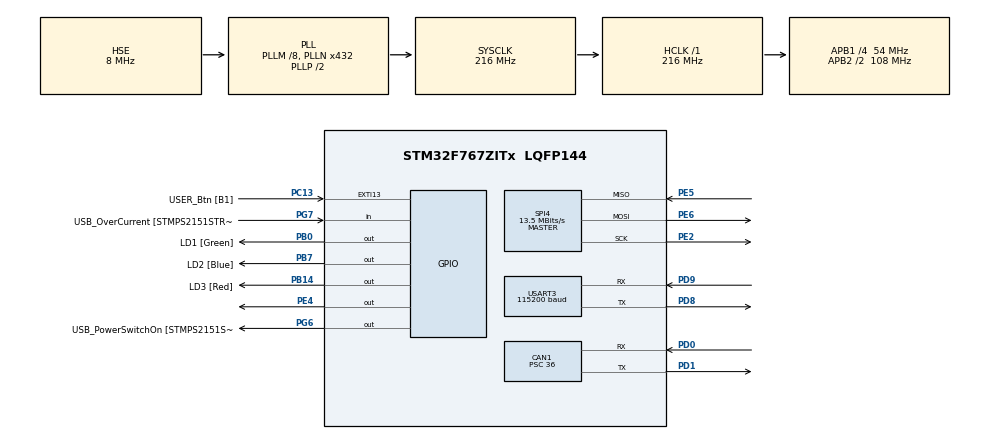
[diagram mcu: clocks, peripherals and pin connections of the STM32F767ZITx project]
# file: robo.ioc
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Mcu.Family=STM32F7
CAN1.NART=ENABLE
RCC.CortexFreq_Value=216000000
SPI4.VirtualType=VM_MASTER
PG6.Signal=GPIO_Output
PB14.GPIO_Label=LD3 [Red]
PG6.GPIO_Label=USB_PowerSwitchOn [STMPS2151STR_EN]
PA14.GPIO_Label=TCK
RCC.SYSCLKSourceVirtual=RCC_SYSCLKSOURCE_PLLCLK
SPI4.Direction=SPI_DIRECTION_2LINES
PD9.GPIO_Speed=GPIO_SPEED_FREQ_VERY_HIGH
PB0.GPIO_Label=LD1 [Green]
PC14/OSC32_IN.Mode=LSE-External-Oscillator
PC13.GPIO_Label=USER_Btn [B1]
PB13.GPIO_Label=RMII_TXD1 [LAN8742A-CZ-TR_TXD1]
PD8.GPIO_PuPd=GPIO_NOPULL
PB13.Signal=ETH_TXD1
PG13.Signal=ETH_TXD0
PD9.Mode=Asynchronous
PG11.Signal=ETH_TX_EN
RCC.SYSCLKSource=RCC_SYSCLKSOURCE_PLLCLK
ProjectManager.StackSize=0x400
USART3.VirtualMode-Asynchronous=VM_ASYNC
PD8.GPIO_ModeDefaultPP=GPIO_MODE_AF_PP
PA12.Signal=USB_OTG_FS_DP
USART3.BaudRate=115200
SPI4.Mode=SPI_MODE_MASTER
PH0/OSC_IN.Mode=HSE-External-Oscillator
RCC.HCLKFreq_Value=216000000
PE2.Mode=Full_Duplex_Master
RCC.APB2TimFreq_Value=216000000
PH1/OSC_OUT.Signal=RCC_OSC_OUT
PD0.Signal=CAN1_RX
PD8.Signal=USART3_TX
PE5.Signal=SPI4_MISO
RCC.AHBFreq_Value=216000000
RCC.HSE_VALUE=8000000
RCC.PLLMUL=RCC_PLL_MUL9
PC4.GPIO_Label=RMII_RXD0 [LAN8742A-CZ-TR_RXD0]
PA10.GPIO_Label=USB_ID
PE2.Signal=SPI4_SCK
PB7.Signal=GPIO_Output
PA8.Signal=USB_OTG_FS_SOF
PE4.Signal=GPIO_Output
PH1/OSC_OUT.Mode=HSE-External-Oscillator
SPI4.BaudRatePrescaler=SPI_BAUDRATEPRESCALER_8
PB7.GPIO_Label=LD2 [Blue]
CAN1.Prescaler=36
Mcu.Package=LQFP144
PC14/OSC32_IN.Signal=RCC_OSC32_IN
PA2.GPIO_Label=RMII_MDIO [LAN8742A-CZ-TR_MDIO]
PA10.Signal=USB_OTG_FS_ID
USART3.DMADisableonRxErrorParam=ADVFEATURE_DMA_DISABLEONRXERROR
RCC.APB2CLKDivider=RCC_HCLK_DIV2
RCC.APB1TimFreq_Value=108000000
USART3.OverrunDisableParam=ADVFEATURE_OVERRUN_DISABLE
PG11.GPIO_Label=RMII_TX_EN [LAN8742A-CZ-TR_TXEN]
PC5.Signal=ETH_RXD1
PD9.GPIO_PuPd=GPIO_NOPULL
CAN1.CalculateTimeBit=1999.99
CAN1.CalculateTimeQuantum=666.6666666666667
PB3.GPIO_Label=SW0
RCC.PLLSourceVirtual=RCC_PLLSOURCE_HSE
PG7.Signal=GPIO_Input
SPI4.DataSize=SPI_DATASIZE_8BIT
PC13.Signal=GPXTI13
PA9.GPIO_Label=USB_VBUS
CAN1.CalculateBaudRate=500000
PC4.Signal=ETH_RXD0
PD1.Signal=CAN1_TX
PA11.GPIO_Label=USB_DM
PD9.Signal=USART3_RX
RCC.APB1CLKDivider=RCC_HCLK_DIV4
PD9.GPIO_ModeDefaultPP=GPIO_MODE_AF_PP
PG13.GPIO_Label=RMII_TXD0 [LAN8742A-CZ-TR_TXD0]
PA12.GPIO_Label=USB_DP
USART3.OverSampling=UART_OVERSAMPLING_16
PA13.Signal=SYS_JTMS-SWDIO
PA8.GPIO_Label=USB_SOF [TP1]
CAN1.BS2=CAN_BS2_1TQ
CAN1.BS1=CAN_BS1_1TQ
ProjectManager.TargetToolchain=STM32CubeIDE
PA9.Signal=USB_OTG_FS_VBUS
RCC.USBFreq_Value=216000000
PD8.Mode=Asynchronous
PA1.Signal=ETH_REF_CLK
PB14.Signal=GPIO_Output
board=NUCLEO-F767ZI
RCC.VCOOutputFreq_Value=432000000
PD1.Mode=CAN_Activate
PH0/OSC_IN.Signal=RCC_OSC_IN
RCC.APB2Freq_Value=108000000
PE6.Mode=Full_Duplex_Master
RCC.PRESCALERUSB=RCC_USBCLKSOURCE_PLL_DIV1_5
PG7.GPIO_Label=USB_OverCurrent [STMPS2151STR_FAULT]
PE5.Mode=Full_Duplex_Master
PA1.GPIO_Label=RMII_REF_CLK [LAN8742A-CZ-TR_REFCLK0]
PC1.GPIO_Label=RMII_MDC [LAN8742A-CZ-TR_MDC]
SPI4.CalculateBaudRate=13.5 MBits/s
PE6.Signal=SPI4_MOSI
Mcu.Name=STM32F767ZITx
PD0.Mode=CAN_Activate
PA2.Signal=ETH_MDIO
PA13.GPIO_Label=TMS
CAN1.SJW=CAN_SJW_2TQ
RCC.48MHZClocksFreq_Value=24000000
PB3.Signal=SYS_JTDO-SWO
RCC.SYSCLKFreq_VALUE=216000000
PA7.GPIO_Label=RMII_CRS_DV [LAN8742A-CZ-TR_CRS_DV]
PC5.GPIO_Label=RMII_RXD1 [LAN8742A-CZ-TR_RXD1]
PC15/OSC32_OUT.Mode=LSE-External-Oscillator
PA11.Signal=USB_OTG_FS_DM
PA14.Signal=SYS_JTCK-SWCLK
ProjectManager.HeapSize=0x200
RCC.HSI_VALUE=16000000
PD8.GPIO_Speed=GPIO_SPEED_FREQ_VERY_HIGH
PH0/OSC_IN.GPIO_Label=MCO [STM32F103CBT6_PA8]
NVIC.PriorityGroup=NVIC_PRIORITYGROUP_4
RCC.PLLM=8
RCC.PLLN=432
PC15/OSC32_OUT.Signal=RCC_OSC32_OUT
RCC.APB1Freq_Value=54000000
PB0.Signal=GPIO_Output
RCC.USART3CLockSelection=RCC_USART3CLKSOURCE_HSI
PC1.Signal=ETH_MDC
NVIC.CAN1_RX0_IRQn=true\:0\:0\:false\:false\:true\:true\:true
PA7.Signal=ETH_CRS_DV

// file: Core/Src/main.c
/* USER CODE BEGIN Header */
/**
  ******************************************************************************
  * @file           : main.c
  * @brief          : Main program body
  ******************************************************************************
  * @attention
  *
  * <h2><center>&copy; Copyright (c) 2021 STMicroelectronics.
  * All rights reserved.</center></h2>
  *
  * This software component is licensed by ST under BSD 3-Clause license,
  * the "License"; You may not use this file except in compliance with the
  * License. You may obtain a copy of the License at:
  *                        opensource.org/licenses/BSD-3-Clause
  *
  ******************************************************************************
  */
/* USER CODE END Header */
#include "main.h"

CAN_HandleTypeDef hcan1;

SPI_HandleTypeDef hspi4;

UART_HandleTypeDef huart3;

/* USER CODE BEGIN PV */
// vv kad veiktų printf į uartę3
#ifdef __GNUC__
#define PUTCHAR_PROTOTYPE int __io_putchar(int ch)
#else
#define PUTCHAR_PROTOTYPE int fputc(int ch, FILE *f)
#endif

PUTCHAR_PROTOTYPE {
	HAL_UART_Transmit(&huart3, (uint8_t *)&ch, 1, 0xFFFF);
}
/* USER CODE END PV */

void SystemClock_Config(void);
static void MX_GPIO_Init(void);
static void MX_CAN1_Init(void);
static void MX_USART3_UART_Init(void);
static void MX_SPI4_Init(void);
/* USER CODE BEGIN PFP */
void CAN_Config(CAN_HandleTypeDef *phcan, uint8_t FIFO_Num);

uint8_t Can_TxMessage(CAN_HandleTypeDef *phcan, uint8_t ide, uint32_t id, uint8_t len, uint8_t *pdata);

void Can_Dome(CAN_HandleTypeDef *hcan1);
/* USER CODE END PFP */

int main(void)
{

  /* MCU Configuration--------------------------------------------------------*/

  /* Reset of all peripherals, Initializes the Flash interface and the Systick. */
  HAL_Init();

  /* Configure the system clock */
  SystemClock_Config();

  /* Initialize all configured peripherals */
  MX_GPIO_Init();
  MX_CAN1_Init();
  MX_USART3_UART_Init();
  MX_SPI4_Init();

  /* Infinite loop */
  /* USER CODE BEGIN WHILE */
/*
  TxHeader.IDE = CAN_ID_STD;
  TxHeader.StdId = 0x141;
  TxHeader.RTR = CAN_RTR_DATA;
  TxHeader.DLC = 8;*/

  CAN_Config(&hcan1, 0);
  //CAN_Config(&hcan1, 1);

  //robo_spin();

  HAL_GPIO_WritePin(GPIOE, GPIO_PIN_4, GPIO_PIN_RESET);

  uint8_t spi_buf_1;
  uint8_t spi_buf_2;
  uint8_t spi_buf_3;

  uint8_t spi_buf_n;

//  uint32_t pressure;

  const uint8_t SN_ADC = 0x00;
  const uint8_t SN_PROM = 0xA2;
  const uint8_t SN_RST = 0x1E;
  const uint8_t SN_D1 = 0x48;

  HAL_GPIO_WritePin(GPIOE, GPIO_PIN_4, GPIO_PIN_RESET);
  HAL_SPI_TransmitReceive(&hspi4, (uint8_t *)&SN_RST, (uint8_t *)&spi_buf_n, 1, 100);
  HAL_GPIO_WritePin(GPIOE, GPIO_PIN_4, GPIO_PIN_SET);
  HAL_Delay(50);

  while (1)
  {
	  HAL_GPIO_WritePin(GPIOE, GPIO_PIN_4, GPIO_PIN_RESET);
	  HAL_SPI_TransmitReceive(&hspi4, (uint8_t *)&SN_D1, (uint8_t *)&spi_buf_n, 1, 100);
	  HAL_GPIO_WritePin(GPIOE, GPIO_PIN_4, GPIO_PIN_SET);
	  HAL_Delay(10);
	  HAL_GPIO_WritePin(GPIOE, GPIO_PIN_4, GPIO_PIN_RESET);
	  HAL_SPI_TransmitReceive(&hspi4, (uint8_t *)&SN_ADC, (uint8_t *)&spi_buf_1, 1, 100);
	  HAL_SPI_TransmitReceive(&hspi4, (uint8_t *)&SN_ADC, (uint8_t *)&spi_buf_2, 1, 100);
	  HAL_SPI_TransmitReceive(&hspi4, (uint8_t *)&SN_ADC, (uint8_t *)&spi_buf_3, 1, 100);

	 // pressure =  (spi_buf_1 << 16) + (spi_buf_2 << 8) + spi_buf_3;

	  HAL_GPIO_WritePin(GPIOE, GPIO_PIN_4, GPIO_PIN_SET);

	  printf("%x %x %x ", spi_buf_1, spi_buf_2, spi_buf_3);

	  HAL_Delay(500);

	  uint8_t sta;

      robo_status();

	  if(sta != 0)
	  {
	     printf("err:%d\n\r", sta);
	  }

	 // Can_Dome(&hcan1);
    /* USER CODE END WHILE */

    /* USER CODE BEGIN 3 */
  	  HAL_GPIO_TogglePin(GPIOB, GPIO_PIN_14);
  }
  /* USER CODE END 3 */
}

void SystemClock_Config(void)
{
  RCC_OscInitTypeDef RCC_OscInitStruct = {0};
  RCC_ClkInitTypeDef RCC_ClkInitStruct = {0};
  RCC_PeriphCLKInitTypeDef PeriphClkInitStruct = {0};

  /** Configure LSE Drive Capability
  */
  HAL_PWR_EnableBkUpAccess();
  /** Configure the main internal regulator output voltage
  */
  __HAL_RCC_PWR_CLK_ENABLE();
  __HAL_PWR_VOLTAGESCALING_CONFIG(PWR_REGULATOR_VOLTAGE_SCALE1);
  /** Initializes the RCC Oscillators according to the specified parameters
  * in the RCC_OscInitTypeDef structure.
  */
  RCC_OscInitStruct.OscillatorType = RCC_OSCILLATORTYPE_HSI|RCC_OSCILLATORTYPE_HSE;
  RCC_OscInitStruct.HSEState = RCC_HSE_ON;
  RCC_OscInitStruct.HSIState = RCC_HSI_ON;
  RCC_OscInitStruct.HSICalibrationValue = RCC_HSICALIBRATION_DEFAULT;
  RCC_OscInitStruct.PLL.PLLState = RCC_PLL_ON;
  RCC_OscInitStruct.PLL.PLLSource = RCC_PLLSOURCE_HSE;
  RCC_OscInitStruct.PLL.PLLM = 8;
  RCC_OscInitStruct.PLL.PLLN = 432;
  RCC_OscInitStruct.PLL.PLLP = RCC_PLLP_DIV2;
  RCC_OscInitStruct.PLL.PLLQ = 2;
  if (HAL_RCC_OscConfig(&RCC_OscInitStruct) != HAL_OK)
  {
    Error_Handler();
  }
  /** Activate the Over-Drive mode
  */
  if (HAL_PWREx_EnableOverDrive() != HAL_OK)
  {
    Error_Handler();
  }
  /** Initializes the CPU, AHB and APB buses clocks
  */
  RCC_ClkInitStruct.ClockType = RCC_CLOCKTYPE_HCLK|RCC_CLOCKTYPE_SYSCLK
                              |RCC_CLOCKTYPE_PCLK1|RCC_CLOCKTYPE_PCLK2;
  RCC_ClkInitStruct.SYSCLKSource = RCC_SYSCLKSOURCE_PLLCLK;
  RCC_ClkInitStruct.AHBCLKDivider = RCC_SYSCLK_DIV1;
  RCC_ClkInitStruct.APB1CLKDivider = RCC_HCLK_DIV4;
  RCC_ClkInitStruct.APB2CLKDivider = RCC_HCLK_DIV2;

  if (HAL_RCC_ClockConfig(&RCC_ClkInitStruct, FLASH_LATENCY_7) != HAL_OK)
  {
    Error_Handler();
  }
  PeriphClkInitStruct.PeriphClockSelection = RCC_PERIPHCLK_USART3;
  PeriphClkInitStruct.Usart3ClockSelection = RCC_USART3CLKSOURCE_HSI;
  if (HAL_RCCEx_PeriphCLKConfig(&PeriphClkInitStruct) != HAL_OK)
  {
    Error_Handler();
  }
}

static void MX_CAN1_Init(void)
{

  hcan1.Instance = CAN1;
  hcan1.Init.Prescaler = 6; //18; //18;
  hcan1.Init.Mode = CAN_MODE_NORMAL;
  hcan1.Init.SyncJumpWidth = CAN_SJW_2TQ;
  hcan1.Init.TimeSeg1 = CAN_BS1_4TQ;
  hcan1.Init.TimeSeg2 = CAN_BS2_4TQ;
  hcan1.Init.TimeTriggeredMode = DISABLE;
  hcan1.Init.AutoBusOff = DISABLE;
  hcan1.Init.AutoWakeUp = DISABLE;
  hcan1.Init.AutoRetransmission = ENABLE;
  hcan1.Init.ReceiveFifoLocked = DISABLE;
  hcan1.Init.TransmitFifoPriority = DISABLE;
  if (HAL_CAN_Init(&hcan1) != HAL_OK)
  {
    Error_Handler();
  }

}

static void MX_SPI4_Init(void)
{

  /* SPI4 parameter configuration*/
  hspi4.Instance = SPI4;
  hspi4.Init.Mode = SPI_MODE_MASTER;
  hspi4.Init.Direction = SPI_DIRECTION_2LINES;
  hspi4.Init.DataSize = SPI_DATASIZE_8BIT;
  hspi4.Init.CLKPolarity = SPI_POLARITY_LOW;
  hspi4.Init.CLKPhase = SPI_PHASE_1EDGE;
  hspi4.Init.NSS = SPI_NSS_SOFT;
  hspi4.Init.BaudRatePrescaler = SPI_BAUDRATEPRESCALER_16; //su 8 dar veikia
  hspi4.Init.FirstBit = SPI_FIRSTBIT_MSB;
  hspi4.Init.TIMode = SPI_TIMODE_DISABLE;
  hspi4.Init.CRCCalculation = SPI_CRCCALCULATION_DISABLE;
  hspi4.Init.CRCPolynomial = 7;
  hspi4.Init.CRCLength = SPI_CRC_LENGTH_DATASIZE;
  hspi4.Init.NSSPMode = SPI_NSS_PULSE_ENABLE;
  if (HAL_SPI_Init(&hspi4) != HAL_OK)
  {
    Error_Handler();
  }

}

static void MX_USART3_UART_Init(void)
{

  huart3.Instance = USART3;
  huart3.Init.BaudRate = 115200;
  huart3.Init.WordLength = UART_WORDLENGTH_8B;
  huart3.Init.StopBits = UART_STOPBITS_1;
  huart3.Init.Parity = UART_PARITY_NONE;
  huart3.Init.Mode = UART_MODE_TX_RX;
  huart3.Init.HwFlowCtl = UART_HWCONTROL_NONE;
  huart3.Init.OverSampling = UART_OVERSAMPLING_16;
  huart3.Init.OneBitSampling = UART_ONE_BIT_SAMPLE_DISABLE;
  huart3.AdvancedInit.AdvFeatureInit = UART_ADVFEATURE_RXOVERRUNDISABLE_INIT|UART_ADVFEATURE_DMADISABLEONERROR_INIT;
  huart3.AdvancedInit.OverrunDisable = UART_ADVFEATURE_OVERRUN_DISABLE;
  huart3.AdvancedInit.DMADisableonRxError = UART_ADVFEATURE_DMA_DISABLEONRXERROR;
  if (HAL_UART_Init(&huart3) != HAL_OK)
  {
    Error_Handler();
  }

}

static void MX_GPIO_Init(void)
{
  GPIO_InitTypeDef GPIO_InitStruct = {0};

  /* GPIO Ports Clock Enable */
  __HAL_RCC_GPIOE_CLK_ENABLE();
  __HAL_RCC_GPIOC_CLK_ENABLE();
  __HAL_RCC_GPIOH_CLK_ENABLE();
  __HAL_RCC_GPIOA_CLK_ENABLE();
  __HAL_RCC_GPIOB_CLK_ENABLE();
  __HAL_RCC_GPIOD_CLK_ENABLE();
  __HAL_RCC_GPIOG_CLK_ENABLE();

  /*Configure GPIO pin Output Level */
  HAL_GPIO_WritePin(GPIOE, GPIO_PIN_4, GPIO_PIN_RESET);

  /*Configure GPIO pin Output Level */
  HAL_GPIO_WritePin(GPIOB, LD1_Pin|LD3_Pin|LD2_Pin, GPIO_PIN_RESET);

  /*Configure GPIO pin Output Level */
  HAL_GPIO_WritePin(USB_PowerSwitchOn_GPIO_Port, USB_PowerSwitchOn_Pin, GPIO_PIN_RESET);

  /*Configure GPIO pin : PE4 */
  GPIO_InitStruct.Pin = GPIO_PIN_4;
  GPIO_InitStruct.Mode = GPIO_MODE_OUTPUT_PP;
  GPIO_InitStruct.Pull = GPIO_NOPULL;
  GPIO_InitStruct.Speed = GPIO_SPEED_FREQ_LOW;
  HAL_GPIO_Init(GPIOE, &GPIO_InitStruct);

  /*Configure GPIO pin : USER_Btn_Pin */
  GPIO_InitStruct.Pin = USER_Btn_Pin;
  GPIO_InitStruct.Mode = GPIO_MODE_IT_RISING;
  GPIO_InitStruct.Pull = GPIO_NOPULL;
  HAL_GPIO_Init(USER_Btn_GPIO_Port, &GPIO_InitStruct);

  /*Configure GPIO pins : RMII_MDC_Pin RMII_RXD0_Pin RMII_RXD1_Pin */
  GPIO_InitStruct.Pin = RMII_MDC_Pin|RMII_RXD0_Pin|RMII_RXD1_Pin;
  GPIO_InitStruct.Mode = GPIO_MODE_AF_PP;
  GPIO_InitStruct.Pull = GPIO_NOPULL;
  GPIO_InitStruct.Speed = GPIO_SPEED_FREQ_VERY_HIGH;
  GPIO_InitStruct.Alternate = GPIO_AF11_ETH;
  HAL_GPIO_Init(GPIOC, &GPIO_InitStruct);

  /*Configure GPIO pins : RMII_REF_CLK_Pin RMII_MDIO_Pin RMII_CRS_DV_Pin */
  GPIO_InitStruct.Pin = RMII_REF_CLK_Pin|RMII_MDIO_Pin|RMII_CRS_DV_Pin;
  GPIO_InitStruct.Mode = GPIO_MODE_AF_PP;
  GPIO_InitStruct.Pull = GPIO_NOPULL;
  GPIO_InitStruct.Speed = GPIO_SPEED_FREQ_VERY_HIGH;
  GPIO_InitStruct.Alternate = GPIO_AF11_ETH;
  HAL_GPIO_Init(GPIOA, &GPIO_InitStruct);

  /*Configure GPIO pins : LD1_Pin LD3_Pin LD2_Pin */
  GPIO_InitStruct.Pin = LD1_Pin|LD3_Pin|LD2_Pin;
  GPIO_InitStruct.Mode = GPIO_MODE_OUTPUT_PP;
  GPIO_InitStruct.Pull = GPIO_NOPULL;
  GPIO_InitStruct.Speed = GPIO_SPEED_FREQ_LOW;
  HAL_GPIO_Init(GPIOB, &GPIO_InitStruct);

  /*Configure GPIO pin : RMII_TXD1_Pin */
  GPIO_InitStruct.Pin = RMII_TXD1_Pin;
  GPIO_InitStruct.Mode = GPIO_MODE_AF_PP;
  GPIO_InitStruct.Pull = GPIO_NOPULL;
  GPIO_InitStruct.Speed = GPIO_SPEED_FREQ_VERY_HIGH;
  GPIO_InitStruct.Alternate = GPIO_AF11_ETH;
  HAL_GPIO_Init(RMII_TXD1_GPIO_Port, &GPIO_InitStruct);

  /*Configure GPIO pin : USB_PowerSwitchOn_Pin */
  GPIO_InitStruct.Pin = USB_PowerSwitchOn_Pin;
  GPIO_InitStruct.Mode = GPIO_MODE_OUTPUT_PP;
  GPIO_InitStruct.Pull = GPIO_NOPULL;
  GPIO_InitStruct.Speed = GPIO_SPEED_FREQ_LOW;
  HAL_GPIO_Init(USB_PowerSwitchOn_GPIO_Port, &GPIO_InitStruct);

  /*Configure GPIO pin : USB_OverCurrent_Pin */
  GPIO_InitStruct.Pin = USB_OverCurrent_Pin;
  GPIO_InitStruct.Mode = GPIO_MODE_INPUT;
  GPIO_InitStruct.Pull = GPIO_NOPULL;
  HAL_GPIO_Init(USB_OverCurrent_GPIO_Port, &GPIO_InitStruct);

  /*Configure GPIO pins : USB_SOF_Pin USB_ID_Pin USB_DM_Pin USB_DP_Pin */
  GPIO_InitStruct.Pin = USB_SOF_Pin|USB_ID_Pin|USB_DM_Pin|USB_DP_Pin;
  GPIO_InitStruct.Mode = GPIO_MODE_AF_PP;
  GPIO_InitStruct.Pull = GPIO_NOPULL;
  GPIO_InitStruct.Speed = GPIO_SPEED_FREQ_VERY_HIGH;
  GPIO_InitStruct.Alternate = GPIO_AF10_OTG_FS;
  HAL_GPIO_Init(GPIOA, &GPIO_InitStruct);

  /*Configure GPIO pin : USB_VBUS_Pin */
  GPIO_InitStruct.Pin = USB_VBUS_Pin;
  GPIO_InitStruct.Mode = GPIO_MODE_INPUT;
  GPIO_InitStruct.Pull = GPIO_NOPULL;
  HAL_GPIO_Init(USB_VBUS_GPIO_Port, &GPIO_InitStruct);

  /*Configure GPIO pins : RMII_TX_EN_Pin RMII_TXD0_Pin */
  GPIO_InitStruct.Pin = RMII_TX_EN_Pin|RMII_TXD0_Pin;
  GPIO_InitStruct.Mode = GPIO_MODE_AF_PP;
  GPIO_InitStruct.Pull = GPIO_NOPULL;
  GPIO_InitStruct.Speed = GPIO_SPEED_FREQ_VERY_HIGH;
  GPIO_InitStruct.Alternate = GPIO_AF11_ETH;
  HAL_GPIO_Init(GPIOG, &GPIO_InitStruct);

}

/* USER CODE BEGIN 4 */

uint8_t Can_TxMessage(CAN_HandleTypeDef *phcan, uint8_t ide, uint32_t id, uint8_t len, uint8_t *pdata)
{
    uint32_t  TxMailbox;           //Get the email number that was sent
    CAN_TxHeaderTypeDef TxHeader;  //Send-header protocol information structure, used to fill parameters
    HAL_StatusTypeDef   HAL_RetVal; //CAN return value
    uint16_t i = 0;
    /*Fill and send header protocol*/
    if(ide == 0)
    {
        TxHeader.IDE = CAN_ID_STD;
        TxHeader.StdId = id;
    }
    else
    {
        TxHeader.IDE = CAN_ID_EXT;
        TxHeader.ExtId = id;
    }

    TxHeader.RTR = CAN_RTR_DATA,          //The frame type of the message data frame
    TxHeader.DLC = len,                   //The length of the frame 8
    TxHeader.TransmitGlobalTime = DISABLE; //Do not capture time

    /*Ask if CAN has a free mailbox*/
    while(HAL_CAN_GetTxMailboxesFreeLevel(phcan) == 0)
    {
        i++;
        if(i > 0xfffe) {//Timeout, sending failed
            return 1;
        }
    }
    HAL_Delay(1);

    /*Send frame*/
    HAL_RetVal = HAL_CAN_AddTxMessage(phcan, &TxHeader, pdata, &TxMailbox); //Send a frame of data
    //printf("TxMailbox %d\r\n",TxMailbox);
    if(HAL_RetVal != HAL_OK)
        return 1;
    return 0;
}

/*For loopback test*/
void Can_Dome(CAN_HandleTypeDef *hcan1)
{
    uint8_t sta;
    sta = Can_TxMessage(hcan1, 0, 8, 8, "789456");
    if(sta != 0)
    {
        printf("err:%d\n\r", sta);
    }
}

void robo_spin()
{

    uint8_t sta;

    uint8_t TxData[8];
    TxData[0] = 0xA2;
    TxData[1] = 0x01;
    TxData[2] = 0x04;
    TxData[3] = 0xE5;
    TxData[4] = 0x10;
    TxData[5] = 0x27;
    TxData[6] = 0x00;
    TxData[7] = 0x00;

    sta = Can_TxMessage(&hcan1, CAN_ID_STD, 0x141, 8, &TxData);
    if(sta != 0)
    {
        printf("err:%d\n\r", sta);
    }
}

void robo_status()
{

    uint8_t sta;

    uint8_t TxData[8];
    TxData[0] = 0x9A;
    TxData[1] = 0x00;
    TxData[2] = 0x00;
    TxData[3] = 0x00;
    TxData[4] = 0x00;
    TxData[5] = 0x00;
    TxData[6] = 0x00;
    TxData[7] = 0x00;

    sta = Can_TxMessage(&hcan1, CAN_ID_STD, 0x141, 8, &TxData);
    if(sta != 0)
    {
        printf("err:%d\n\r", sta);
    }
}

void CAN_Config(CAN_HandleTypeDef *phcan, uint8_t FIFO_Num)
{

    //Configure the filter to receive ID frames in the specified range
    CAN_FilterTypeDef CAN_FilterType;
    CAN_FilterType.FilterBank = 0;                        //Filter group [0,13]
    CAN_FilterType.SlaveStartFilterBank = 14;             //Start from the filter group [0,27]
    CAN_FilterType.FilterIdHigh = 0x0000;                 //ID high bit to be filtered [0x0000,0xFFFF]
    CAN_FilterType.FilterIdLow = 0x0000;                  //ID to be filtered low [0x0000,0xFFFF]
    CAN_FilterType.FilterMaskIdHigh = 0x0000;             //The high 16 bits of the filter must not match
    CAN_FilterType.FilterMaskIdLow = 0x0000;              //The lower 16 bits of the filter must not match
    CAN_FilterType.FilterFIFOAssignment = FIFO_Num;       //The filter is associated to (0=RX_FIFO0/1=RX_FIFO1)
    CAN_FilterType.FilterMode = CAN_FILTERMODE_IDMASK;    //Work in identifier mask bit mode
    CAN_FilterType.FilterScale = CAN_FILTERSCALE_32BIT;   //The filter bit width is a single 32 bits
    CAN_FilterType.FilterActivation = ENABLE;             //Enable filter
    if(HAL_CAN_ConfigFilter(phcan, &CAN_FilterType) != HAL_OK)
    {
        Error_Handler();
    }

    /*Open the interrupt service corresponding to the CAN channel*/
    if(FIFO_Num == 0)
    {
        if(HAL_CAN_ActivateNotification(phcan, CAN_IT_RX_FIFO0_MSG_PENDING ) != HAL_OK)
        {
            Error_Handler();
        }
    }
    else
    {
        if(HAL_CAN_ActivateNotification(phcan, CAN_IT_RX_FIFO1_MSG_PENDING ) != HAL_OK)
        {
            Error_Handler();
        }
    }

    /*Start CAN communication*/
    if(HAL_CAN_Start(phcan) != HAL_OK)
    {
        Error_Handler();
    }
}

/*********************************************
 Function name: HAL_CAN_RxFifo0MsgPendingCallback
 Function: CAN channel 0 receives the callback function, and it will be triggered when a complete frame arrives.
 Formal parameter: hcan --CAN information structure (hcan/hcan1/hcan2)
 return value:
 Remarks:
**********************************************/
void HAL_CAN_RxFifo0MsgPendingCallback(CAN_HandleTypeDef *hcan)
{
    uint8_t Rxbuff[8] = "";         //Store frame data
    CAN_RxHeaderTypeDef RxHeader;   //Store frame header protocol
    HAL_StatusTypeDef   HAL_RetVal; //CAN return value

    if(hcan->Instance == CAN1)
    {

        HAL_RetVal = HAL_CAN_GetRxMessage(hcan, CAN_RX_FIFO0, &RxHeader, Rxbuff); //Read a frame from channel 0 buffer
        if(HAL_RetVal == HAL_OK)
        {
            /*User-defined area*/
            if(RxHeader.IDE == 0)
            {
                printf("FIFO0,ID:%d -- Rxbuff:%x\r\n", RxHeader.StdId, Rxbuff);
                //printf("ok 1\n\r");
            }
            else
            {
                //printf("FIFO0,ID:%d -- Rxbuff:%s\r\n", RxHeader.ExtId, Rxbuff);
                printf("ok 2\n\r");
            }
        }
    }
    //if(hcan->Instance == CAN2)//When there are two CANs, share channel 0
}
/*********************************************
 Function name: HAL_CAN_RxFifo1MsgPendingCallback
 Function: CAN channel 1 receives the callback function, which will be triggered when a complete frame arrives.
 Formal parameter: hcan --CAN information structure (hcan/hcan1/hcan2)
 return value:
 Remarks:
**********************************************/
void HAL_CAN_RxFifo1MsgPendingCallback(CAN_HandleTypeDef *hcan)
{
    uint8_t Rxbuff[8] = "";         //Store frame data
    CAN_RxHeaderTypeDef RxHeader;   //Store frame header protocol
    HAL_StatusTypeDef   HAL_RetVal; //CAN return value

    if(hcan->Instance == CAN1)
    {
        HAL_RetVal = HAL_CAN_GetRxMessage(hcan, CAN_RX_FIFO1, &RxHeader, Rxbuff); //Read a frame from the channel 1 buffer
        if(HAL_RetVal == HAL_OK)
        {
            /*User-defined area*/
            if(RxHeader.IDE == 0)
            {
               // printf("FIFO1,ID:%d -- Rxbuff:%s\r\n", RxHeader.StdId, Rxbuff);
                printf("ok 3\n\r");
            }
            else
            {
                //printf("FIFO1,ID:%d -- Rxbuff:%s\r\n", RxHeader.ExtId, Rxbuff);
                printf("ok 4\n\r");
            }
        }
    }
    //if(hcan->Instance == CAN2)//When there are two CANs, share channel 1
}

void Error_Handler(void)
{
  /* USER CODE BEGIN Error_Handler_Debug */
  /* User can add his own implementation to report the HAL error return state */
  __disable_irq();
  while (1)
  {
	  HAL_GPIO_TogglePin(GPIOB, GPIO_PIN_14);
	  HAL_Delay(100);
  }
  /* USER CODE END Error_Handler_Debug */
}

/************************ (C) COPYRIGHT STMicroelectronics *****END OF FILE****/
